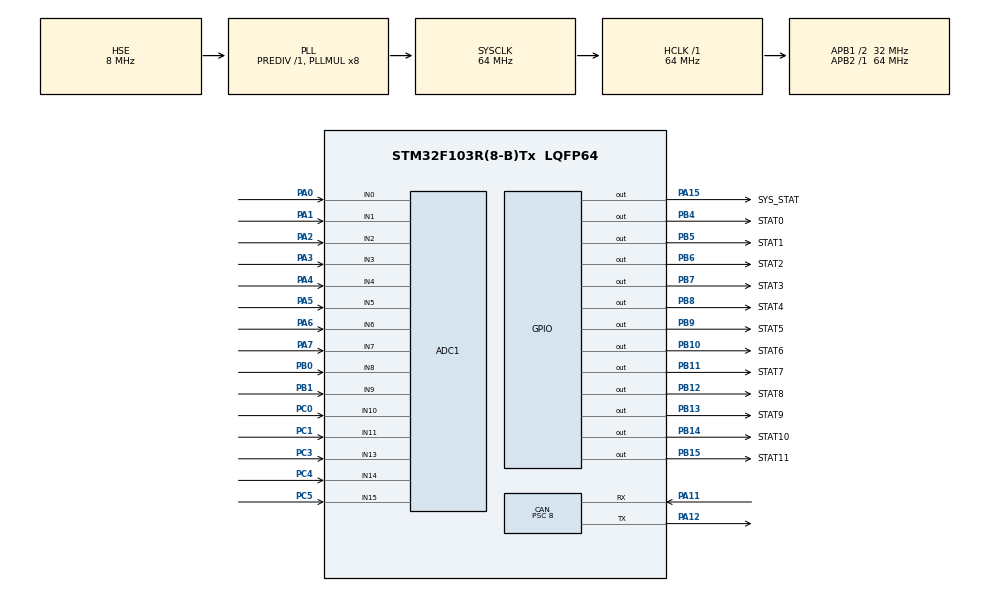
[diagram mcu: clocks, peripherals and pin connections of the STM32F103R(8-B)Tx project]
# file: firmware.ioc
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ADC1.Channel-0\#ChannelRegularConversion=ADC_CHANNEL_0
ADC1.Channel-1\#ChannelRegularConversion=ADC_CHANNEL_1
ADC1.Channel-10\#ChannelRegularConversion=ADC_CHANNEL_10
ADC1.Channel-11\#ChannelRegularConversion=ADC_CHANNEL_11
ADC1.Channel-12\#ChannelRegularConversion=ADC_CHANNEL_13
ADC1.Channel-13\#ChannelRegularConversion=ADC_CHANNEL_14
ADC1.Channel-15\#ChannelRegularConversion=ADC_CHANNEL_15
ADC1.Channel-2\#ChannelRegularConversion=ADC_CHANNEL_2
ADC1.Channel-3\#ChannelRegularConversion=ADC_CHANNEL_3
ADC1.Channel-4\#ChannelRegularConversion=ADC_CHANNEL_4
ADC1.Channel-5\#ChannelRegularConversion=ADC_CHANNEL_5
ADC1.Channel-6\#ChannelRegularConversion=ADC_CHANNEL_6
ADC1.Channel-7\#ChannelRegularConversion=ADC_CHANNEL_7
ADC1.Channel-8\#ChannelRegularConversion=ADC_CHANNEL_8
ADC1.Channel-9\#ChannelRegularConversion=ADC_CHANNEL_9
ADC1.NbrOfConversion=15
ADC1.NbrOfConversionFlag=1
ADC1.Rank-0\#ChannelRegularConversion=1
ADC1.Rank-1\#ChannelRegularConversion=2
ADC1.Rank-10\#ChannelRegularConversion=11
ADC1.Rank-11\#ChannelRegularConversion=12
ADC1.Rank-12\#ChannelRegularConversion=13
ADC1.Rank-13\#ChannelRegularConversion=14
ADC1.Rank-15\#ChannelRegularConversion=15
ADC1.Rank-2\#ChannelRegularConversion=3
ADC1.Rank-3\#ChannelRegularConversion=4
ADC1.Rank-4\#ChannelRegularConversion=5
ADC1.Rank-5\#ChannelRegularConversion=6
ADC1.Rank-6\#ChannelRegularConversion=7
ADC1.Rank-7\#ChannelRegularConversion=8
ADC1.Rank-8\#ChannelRegularConversion=9
ADC1.Rank-9\#ChannelRegularConversion=10
ADC1.SamplingTime-0\#ChannelRegularConversion=ADC_SAMPLETIME_239CYCLES_5
ADC1.SamplingTime-1\#ChannelRegularConversion=ADC_SAMPLETIME_239CYCLES_5
ADC1.SamplingTime-10\#ChannelRegularConversion=ADC_SAMPLETIME_239CYCLES_5
ADC1.SamplingTime-11\#ChannelRegularConversion=ADC_SAMPLETIME_239CYCLES_5
ADC1.SamplingTime-12\#ChannelRegularConversion=ADC_SAMPLETIME_239CYCLES_5
ADC1.SamplingTime-13\#ChannelRegularConversion=ADC_SAMPLETIME_239CYCLES_5
ADC1.SamplingTime-15\#ChannelRegularConversion=ADC_SAMPLETIME_239CYCLES_5
ADC1.SamplingTime-2\#ChannelRegularConversion=ADC_SAMPLETIME_239CYCLES_5
ADC1.SamplingTime-3\#ChannelRegularConversion=ADC_SAMPLETIME_239CYCLES_5
ADC1.SamplingTime-4\#ChannelRegularConversion=ADC_SAMPLETIME_239CYCLES_5
ADC1.SamplingTime-5\#ChannelRegularConversion=ADC_SAMPLETIME_239CYCLES_5
ADC1.SamplingTime-6\#ChannelRegularConversion=ADC_SAMPLETIME_239CYCLES_5
ADC1.SamplingTime-7\#ChannelRegularConversion=ADC_SAMPLETIME_239CYCLES_5
ADC1.SamplingTime-8\#ChannelRegularConversion=ADC_SAMPLETIME_239CYCLES_5
ADC1.SamplingTime-9\#ChannelRegularConversion=ADC_SAMPLETIME_239CYCLES_5
ADC1.master=1
CAN.BS1=CAN_BS1_6TQ
CAN.CalculateBaudRate=500000
CAN.CalculateTimeBit=2000
CAN.CalculateTimeQuantum=250.0
CAN.NART=ENABLE
CAN.Prescaler=8
Dma.ADC1.0.Direction=DMA_PERIPH_TO_MEMORY
Dma.ADC1.0.Instance=DMA1_Channel1
Dma.ADC1.0.MemDataAlignment=DMA_MDATAALIGN_HALFWORD
Dma.ADC1.0.MemInc=DMA_MINC_ENABLE
Dma.ADC1.0.Mode=DMA_NORMAL
Dma.ADC1.0.PeriphDataAlignment=DMA_PDATAALIGN_HALFWORD
Dma.ADC1.0.PeriphInc=DMA_PINC_DISABLE
Dma.ADC1.0.Priority=DMA_PRIORITY_LOW
Dma.Request0=ADC1
Mcu.Family=STM32F1
Mcu.Name=STM32F103R(8-B)Tx
Mcu.Package=LQFP64
NVIC.DMA1_Channel1_IRQn=true\:0\:0\:false\:false\:true\:false\:true\:true
NVIC.PriorityGroup=NVIC_PRIORITYGROUP_4
NVIC.USB_LP_CAN1_RX0_IRQn=true\:0\:0\:false\:false\:true\:true\:true\:true
PA0-WKUP.Signal=ADCx_IN0
PA1.Signal=ADCx_IN1
PA11.Mode=CAN_Activate
PA11.Signal=CAN_RX
PA12.Mode=CAN_Activate
PA12.Signal=CAN_TX
PA13.Mode=Trace_Asynchronous_SW
PA13.Signal=SYS_JTMS-SWDIO
PA14.Mode=Trace_Asynchronous_SW
PA14.Signal=SYS_JTCK-SWCLK
PA15.GPIO_Label=SYS_STAT
PA15.Signal=GPIO_Output
PA2.Signal=ADCx_IN2
PA3.Signal=ADCx_IN3
PA4.Signal=ADCx_IN4
PA5.Signal=ADCx_IN5
PA6.Signal=ADCx_IN6
PA7.Signal=ADCx_IN7
PB0.Signal=ADCx_IN8
PB1.Signal=ADCx_IN9
PB10.GPIO_Label=STAT6
PB10.Signal=GPIO_Output
PB11.GPIO_Label=STAT7
PB11.Signal=GPIO_Output
PB12.GPIO_Label=STAT8
PB12.Signal=GPIO_Output
PB13.GPIO_Label=STAT9
PB13.Signal=GPIO_Output
PB14.GPIO_Label=STAT10
PB14.Signal=GPIO_Output
PB15.GPIO_Label=STAT11
PB15.Signal=GPIO_Output
PB3.Mode=Trace_Asynchronous_SW
PB3.Signal=SYS_JTDO-TRACESWO
PB4.GPIO_Label=STAT0
PB4.Signal=GPIO_Output
PB5.GPIO_Label=STAT1
PB5.Signal=GPIO_Output
PB6.GPIO_Label=STAT2
PB6.Signal=GPIO_Output
PB7.GPIO_Label=STAT3
PB7.Signal=GPIO_Output
PB8.GPIO_Label=STAT4
PB8.Signal=GPIO_Output
PB9.GPIO_Label=STAT5
PB9.Signal=GPIO_Output
PC0.Signal=ADCx_IN10
PC1.Signal=ADCx_IN11
PC3.Signal=ADCx_IN13
PC4.Signal=ADCx_IN14
PC5.Signal=ADCx_IN15
PD0-OSC_IN.Mode=HSE-External-Oscillator
PD0-OSC_IN.Signal=RCC_OSC_IN
PD1-OSC_OUT.Mode=HSE-External-Oscillator
PD1-OSC_OUT.Signal=RCC_OSC_OUT
ProjectManager.HeapSize=0x200
ProjectManager.StackSize=0x400
ProjectManager.TargetToolchain=Makefile
RCC.ADCPresc=RCC_ADCPCLK2_DIV6
RCC.AHBFreq_Value=64000000
RCC.APB1CLKDivider=RCC_HCLK_DIV2
RCC.APB1Freq_Value=32000000
RCC.APB1TimFreq_Value=64000000
RCC.APB2Freq_Value=64000000
RCC.APB2TimFreq_Value=64000000
RCC.HCLKFreq_Value=64000000
RCC.PLLMUL=RCC_PLL_MUL8
RCC.PLLSourceVirtual=RCC_PLLSOURCE_HSE
RCC.SYSCLKFreq_VALUE=64000000
RCC.SYSCLKSource=RCC_SYSCLKSOURCE_PLLCLK
RCC.USBFreq_Value=64000000
SH.ADCx_IN0.0=ADC1_IN0,IN0
SH.ADCx_IN1.0=ADC1_IN1,IN1
SH.ADCx_IN10.0=ADC1_IN10,IN10
SH.ADCx_IN11.0=ADC1_IN11,IN11
SH.ADCx_IN13.0=ADC1_IN13,IN13
SH.ADCx_IN14.0=ADC1_IN14,IN14
SH.ADCx_IN15.0=ADC1_IN15,IN15
SH.ADCx_IN2.0=ADC1_IN2,IN2
SH.ADCx_IN3.0=ADC1_IN3,IN3
SH.ADCx_IN4.0=ADC1_IN4,IN4
SH.ADCx_IN5.0=ADC1_IN5,IN5
SH.ADCx_IN6.0=ADC1_IN6,IN6
SH.ADCx_IN7.0=ADC1_IN7,IN7
SH.ADCx_IN8.0=ADC1_IN8,IN8
SH.ADCx_IN9.0=ADC1_IN9,IN9
board=custom

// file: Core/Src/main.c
/* USER CODE BEGIN Header */
/**
  ******************************************************************************
  * @file           : main.c
  * @brief          : Main program body
  ******************************************************************************
  * @attention
  *
  * Copyright (c) 2023 STMicroelectronics.
  * All rights reserved.
  *
  * This software is licensed under terms that can be found in the LICENSE file
  * in the root directory of this software component.
  * If no LICENSE file comes with this software, it is provided AS-IS.
  *
  ******************************************************************************
  */
/* USER CODE END Header */
#include "main.h"

/* USER CODE BEGIN Includes */
#include "can-ids/CAN.h"
#include <string.h>
#include <math.h>
/* USER CODE END Includes */

/* USER CODE BEGIN PD */

// TODO Read from flash
uint32_t BOARD_ID = 0;
/* USER CODE END PD */

ADC_HandleTypeDef hadc1;
DMA_HandleTypeDef hdma_adc1;

CAN_HandleTypeDef hcan;

void SystemClock_Config(void);
static void MX_GPIO_Init(void);
static void MX_DMA_Init(void);
static void MX_ADC1_Init(void);
static void MX_CAN_Init(void);

/* USER CODE BEGIN 0 */
GPIO_TypeDef* status_ports[N_STATUS_LEDS] = {
  STAT0_GPIO_Port,
  STAT1_GPIO_Port,
  STAT2_GPIO_Port,
  STAT3_GPIO_Port,
  STAT4_GPIO_Port,
  STAT5_GPIO_Port,
  STAT6_GPIO_Port,
  STAT7_GPIO_Port,
  STAT8_GPIO_Port,
  STAT9_GPIO_Port,
  STAT10_GPIO_Port,
  STAT11_GPIO_Port,
};
uint16_t status_pins[N_STATUS_LEDS] = {
  STAT0_Pin,
  STAT1_Pin,
  STAT2_Pin,
  STAT3_Pin,
  STAT4_Pin,
  STAT5_Pin,
  STAT6_Pin,
  STAT7_Pin,
  STAT8_Pin,
  STAT9_Pin,
  STAT10_Pin,
  STAT11_Pin,
};

uint8_t adc_to_channel_mapping[N_ADC_CHANNELS] = {
  0, 1, 2, 12, 10, 6, 8, 14, 3, 4, 9, 11, 13, 7, 5
};

volatile uint16_t adc_readings[N_ADC_CHANNELS];

int16_t temperatures[N_ADC_CHANNELS];

// Orion BMS CAN data
uint8_t orion_data_ready = 0; // stores whether data is available to send yet
const uint8_t thermistor_module_number = 0;
int8_t pack_min_temperature; // in degrees C
uint8_t pack_min_idx;
int8_t pack_max_temperature; // in degrees C
uint8_t pack_max_idx;
int32_t pack_temp_sum; // for calculating average temperature
uint8_t pack_temp_samples;
const uint8_t thermistor_count = 12 * 7;

const uint8_t orion_bms_address_claim[8] = {
  0xF3, 0x00, 0x80, 0xF3, 0x00, 0x40, 0x1E, 0x90
};

uint32_t write_cal_data(struct ThermistorCal_T* data);

float compute_resistance(uint16_t adc_reading) {
  float adc_float = (float) adc_reading;
  float voltage_fac = adc_float / ((float) 0x1000); // input voltage as a fraction of VDDA
  const float ref_resistance = 10000.0; // precision reference resistor value
  float rtd_resistance = ref_resistance * ((1.0 / voltage_fac) - 1);
  return rtd_resistance;
}

float c2k(float c) {
    return c + 273.15;
}
float k2c(float k) {
    return k - 273.15;
}

struct SteinhartHartParameters compute_parameters(float r1, float t1, float r2, float t2, float r3, float t3) {
    float ln_r1 = logf(r1);
    float ln_r2 = logf(r2);
    float ln_r3 = logf(r3);

    float Y_1 = 1.0 / c2k(t1);
    float Y_2 = 1.0 / c2k(t2);
    float Y_3 = 1.0 / c2k(t3);

    float gamma_2 = (Y_2 - Y_1) / (ln_r2 - ln_r1);
    float gamma_3 = (Y_3 - Y_1) / (ln_r3 - ln_r1);

    float C = ((gamma_3 - gamma_2) / (ln_r3 - ln_r2)) * 1.0 / (ln_r1 + ln_r2 + ln_r3);

    float B = gamma_2 - C * (ln_r1 * ln_r1 + ln_r1 * ln_r2 + ln_r2 * ln_r2);

    float A = Y_1 - (B + C * ln_r1 * ln_r1) * ln_r1;

    struct SteinhartHartParameters params = {A,B,C};
    return params;
}

float compute_temperature(struct SteinhartHartParameters* p, float r) {
  float ln_r = logf(r);
  float t_inv = p->A + p->B * ln_r + p->C * ln_r * ln_r * ln_r;
  float temp_kelvin = 1.0 / t_inv;
  return k2c(temp_kelvin);
}

void can_send_float(uint8_t errno, float f1) {
  // Message header
  CAN_TxHeaderTypeDef m;
  // Use standard ID
  m.IDE = CAN_ID_STD;
  // Set message ID
  m.StdId = CELL_TAP_CAL_RESP_ID + BOARD_ID;
  // Use CAN_RTR_DATA to transmit data
  // We may use CAN_RTR_REMOTE to request things to send data in the future
  m.RTR = CAN_RTR_DATA;
  // Amount of data
  m.DLC = 8;

  // Data to send
  uint8_t data_u8[8];

  uint32_t* int_value = (uint32_t*) &f1;
  data_u8[4] = (*int_value >> 24) & 0xff;
  data_u8[5] = (*int_value >> 16) & 0xff;
  data_u8[6] = (*int_value >> 8) & 0xff;
  data_u8[7] = (*int_value) & 0xff;
  data_u8[0] = errno;
  data_u8[1] = 0;
  data_u8[2] = 0;
  data_u8[3] = 0;

  // Send a message
  uint32_t mailbox;
  HAL_CAN_AddTxMessage(&hcan, &m, data_u8, &mailbox);

  // Wait for message to be sent. This is usually not needed.
  while (HAL_CAN_IsTxMessagePending(&hcan, mailbox));
}

uint8_t cal_cmd(uint8_t cmd, float value) {
  uint8_t errno = 0;

  // read current calibration from flash
  struct ThermistorCal_T current_cal;
  struct ThermistorCal_T* memcpy_source = CAL_TABLE;
  memcpy(&current_cal, memcpy_source, sizeof(struct ThermistorCal_T));
  switch(cmd) {
    case 0:
      // clear calibration
      struct ThermistorCal_T blank_cal = {0};
      if(write_cal_data(&blank_cal) > 0) errno = 1;
      break;
    case 1:
    case 2:
    case 3:
      current_cal.temps[cmd - 1] = value;
      for(uint8_t i = 0; i < N_ADC_CHANNELS; ++i) {
        // TODO use filtered adc readings
        uint16_t reading = adc_readings[i];
        if(reading < ADC_ERR_LOW || reading > ADC_ERR_HIGH) {
          errno = 3;
          break;
        }
        current_cal.adc_readings[i][cmd - 1] = adc_readings[i];
      }
      if(errno == 0) {
        current_cal.temp_calibrations[cmd - 1] = 1;
        if(write_cal_data(&current_cal) > 0) errno = 1;
      }
      break;
    case 4:
      // Verify that all three calibration points have been read, otherwise the result will be nonsense
      if(current_cal.temp_calibrations[0] && current_cal.temp_calibrations[1] && current_cal.temp_calibrations[2]) {
        float t1 = current_cal.temps[0];
        float t2 = current_cal.temps[1];
        float t3 = current_cal.temps[2];
        // now low/mid/high_cal_idx should be in order
        for(uint8_t i = 0; i < N_ADC_CHANNELS; ++i) {
          float r1 = compute_resistance(current_cal.adc_readings[i][0]);
          float r2 = compute_resistance(current_cal.adc_readings[i][1]);
          float r3 = compute_resistance(current_cal.adc_readings[i][2]);

          // previous debugging code
          // can_send_float(200, r1);
          // can_send_float(201, t1);
          // can_send_float(202, r2);
          // can_send_float(203, t2);
          // can_send_float(204, r3);
          // can_send_float(205, t3);

          struct SteinhartHartParameters params = compute_parameters(r1, t1, r2, t2, r3, t3);
          if(isnan(params.A) || isnan(params.B) || isnan(params.C)) {
            errno = 5;
            break;
          }

          current_cal.parameters[i] = params;
        }
      } else {
        errno = 4;
        break;
      }

      current_cal.abc_calibration = 1;

      if(write_cal_data(&current_cal) > 0) errno = 1;
      break;
    case 5: // dump out calibration values
        // ABC Values
        for(uint8_t i = 0; i < N_ADC_CHANNELS; ++i) {
          can_send_float(20 + i, current_cal.parameters[i].A);
        }
        for(uint8_t i = 0; i < N_ADC_CHANNELS; ++i) {
          can_send_float(40 + i, current_cal.parameters[i].B);
        }
        for(uint8_t i = 0; i < N_ADC_CHANNELS; ++i) {
          can_send_float(60 + i, current_cal.parameters[i].C);
        }

        // Calib. temps
        can_send_float(80, current_cal.temps[0]);
        can_send_float(81, current_cal.temps[1]);
        can_send_float(82, current_cal.temps[2]);

        // ADC Readings
        for(uint8_t i = 0; i < N_ADC_CHANNELS; ++i) {
          can_send_float(100 + i, (float) current_cal.adc_readings[i][0]);
        }
        for(uint8_t i = 0; i < N_ADC_CHANNELS; ++i) {
          can_send_float(120 + i, (float) current_cal.adc_readings[i][1]);
        }
        for(uint8_t i = 0; i < N_ADC_CHANNELS; ++i) {
          can_send_float(140 + i, (float) current_cal.adc_readings[i][2]);
        }
      break;

    default:
      errno = 2;
  }

  // send response
  // Message header
  CAN_TxHeaderTypeDef m;
  // Use standard ID
  m.IDE = CAN_ID_STD;
  // Set message ID
  m.StdId = CELL_TAP_CAL_RESP_ID + BOARD_ID;
  // Use CAN_RTR_DATA to transmit data
  // We may use CAN_RTR_REMOTE to request things to send data in the future
  m.RTR = CAN_RTR_DATA;
  // Amount of data
  m.DLC = CELL_TAP_CAL_RESP_DLC;

  // Data to send
  uint8_t data[1];
  data[0] = errno;

  // Send a message
  uint32_t mailbox;
  HAL_CAN_AddTxMessage(&hcan, &m, data, &mailbox);
  // Wait for message to be sent. This is usually not needed.
  while (HAL_CAN_IsTxMessagePending(&hcan, mailbox));
  return 0;
}

void update_orion_bms_data(int8_t t, uint8_t idx) {
  pack_temp_sum += t;
  pack_temp_samples ++;
  if(t < pack_min_temperature) {
    pack_min_temperature = t;
    pack_min_idx = idx;
  }
  if(t > pack_max_temperature) {
    pack_max_temperature = t;
    pack_max_idx = idx;
  }
}

void reset_orion_bms_data(void) {
  pack_max_temperature = INT8_MIN;
  pack_min_temperature = INT8_MAX;
  pack_temp_sum = 0;
  pack_temp_samples = 0;

  for(uint8_t i = 0; i < 12; ++i) {
    int8_t temp_i8 = (int8_t)(temperatures[i] / 100);
    update_orion_bms_data(temp_i8, i);
  }
}

// CAN Interrupt handler. Called whenever a new CAN frame is received.
void can_irq(CAN_HandleTypeDef *pcan) {
  // Message header
  CAN_RxHeaderTypeDef msg;
  // Message data. Only filled with as much data as the message contained, the rest is garbage.
  uint8_t data[8];

  // Read the next CAN frame
  HAL_CAN_GetRxMessage(pcan, CAN_RX_FIFO0, &msg, data);

  // Only accept standard CAN IDs, we don't use extended IDs.
  if(msg.IDE == CAN_ID_STD) {
    switch (msg.StdId)
      {
      // Add cases for each CAN ID you want to handle

      // ID 0xB0 is a bootloader command, so reset the mcu when received.
      case BOOTLOADER_ID:
        __NVIC_SystemReset(); // Reset to bootloader
        break;

      case CELL_TAP_CAL_CMD_ID: // calibration command
        uint8_t command = read_field_u8(&CELL_TAP_CAL_CMD_cmd, data);
        uint32_t int_value = (data[1] << 24) + (data[2] << 16) + (data[3] << 8) + data[4];
        float value = *(float *) &int_value; // reinterpret bytes as float without doing conversion

        cal_cmd(command, value);

      default:
        // Board 0 collects data and sends it to the orion BMS
        if(BOARD_ID == 0){
          // check if the message is from a segment board
          if(msg.StdId >= CELL_TAP_1_1_ID && msg.StdId < CELL_TAP_7_1_ID + 4) {
            if(msg.StdId % 4 != 3) { // don't read the board thermistors, only cells
              uint8_t board_no = (msg.StdId - CELL_TAP_1_1_ID) / 4;
              uint8_t message_no = msg.StdId % 4;
              uint8_t start_thermistor_idx = board_no * 12 + message_no * 4;
              // record max/min temperature
              int16_t* temps = (int16_t*) data;
              for(uint8_t i = 0; i < 4; ++i) {
                int16_t temp = __builtin_bswap16(temps[i]);
                int8_t temp_i8 = (int8_t) (temps[i] / 100);
                update_orion_bms_data(temp_i8, start_thermistor_idx + i);
              }
            }
          }

        }
        break;
      }
  }
}

void can_transmit_orion_bms(void) {
  // Message header
  CAN_TxHeaderTypeDef m;
  // Use standard ID
  m.IDE = CAN_ID_EXT;
  // Set message ID
  m.ExtId = 0x1839F380;
  // Use CAN_RTR_DATA to transmit data
  // We may use CAN_RTR_REMOTE to request things to send data in the future
  m.RTR = CAN_RTR_DATA;
  // Amount of data
  m.DLC = 8;

  // Data to send
  uint8_t data[8];

  int32_t average_temp = pack_temp_sum / pack_temp_samples;
  data[0] = thermistor_module_number;
  data[1] = pack_min_temperature;
  data[2] = pack_max_temperature;
  data[3] = (int8_t) average_temp;
  data[4] = thermistor_count;
  data[5] = pack_max_idx;
  data[6] = pack_min_idx;

  // Checksum 8-bit
  // (sum of all bytes + 0x39 + length)
  uint8_t checksum = 0;
  for(int i = 0; i < 7; ++i) {
    checksum += data[i];
  }
  checksum += 0x39;
  checksum += 8;

  data[7] = checksum;

  // Send a message
  uint32_t mailbox;
  HAL_CAN_AddTxMessage(&hcan, &m, data, &mailbox);
  // Wait for message to be sent. This is usually not needed.
  while (HAL_CAN_IsTxMessagePending(&hcan, mailbox));
}

void can_transmit_orion_bms_address_claim(void) {
  // Message header
  CAN_TxHeaderTypeDef m;
  // Use standard ID
  m.IDE = CAN_ID_EXT;
  // Set message ID
  m.ExtId = 0x18EEFF80;
  // Use CAN_RTR_DATA to transmit data
  // We may use CAN_RTR_REMOTE to request things to send data in the future
  m.RTR = CAN_RTR_DATA;
  // Amount of data
  m.DLC = 8;

  // Send a message
  uint32_t mailbox;
  HAL_CAN_AddTxMessage(&hcan, &m, orion_bms_address_claim, &mailbox);
  // Wait for message to be sent. This is usually not needed.
  while (HAL_CAN_IsTxMessagePending(&hcan, mailbox));
}

// We only send one CAN message each time to save CAN bus resources.
static uint8_t can_message_idx = 0;

void can_transmit_temperatures(void) {
  // Message header
  CAN_TxHeaderTypeDef m;
  // Use standard ID
  m.IDE = CAN_ID_STD;
  // Set message ID
  m.StdId = CELL_TAP_1_1_ID + can_message_idx + 4 * BOARD_ID;
  // Use CAN_RTR_DATA to transmit data
  // We may use CAN_RTR_REMOTE to request things to send data in the future
  m.RTR = CAN_RTR_DATA;
  // Amount of data
  m.DLC = CELL_TAP_1_1_DLC;

  // Data to send
  uint8_t data[8];

  switch(can_message_idx) {
    case 0:
      data[0] = (temperatures[0] >> 8) & 0xFF;
      data[1] = temperatures[0] & 0xFF;
      data[2] = (temperatures[1] >> 8) & 0xFF;
      data[3] = temperatures[1] & 0xFF;
      data[4] = (temperatures[2] >> 8) & 0xFF;
      data[5] = temperatures[2] & 0xFF;
      data[6] = (temperatures[3] >> 8) & 0xFF;
      data[7] = temperatures[3] & 0xFF;
      break;
    case 1:
      data[0] = (temperatures[4] >> 8) & 0xFF;
      data[1] = temperatures[4] & 0xFF;
      data[2] = (temperatures[5] >> 8) & 0xFF;
      data[3] = temperatures[5] & 0xFF;
      data[4] = (temperatures[6] >> 8) & 0xFF;
      data[5] = temperatures[6] & 0xFF;
      data[6] = (temperatures[7] >> 8) & 0xFF;
      data[7] = temperatures[7] & 0xFF;
      break;
    case 2:
      data[0] = (temperatures[8] >> 8) & 0xFF;
      data[1] = temperatures[8] & 0xFF;
      data[2] = (temperatures[9] >> 8) & 0xFF;
      data[3] = temperatures[9] & 0xFF;
      data[4] = (temperatures[10] >> 8) & 0xFF;
      data[5] = temperatures[10] & 0xFF;
      data[6] = (temperatures[11] >> 8) & 0xFF;
      data[7] = temperatures[11] & 0xFF;
      break;
    case 3:
      data[0] = (temperatures[12] >> 8) & 0xFF;
      data[1] = temperatures[12] & 0xFF;
      data[2] = (temperatures[13] >> 8) & 0xFF;
      data[3] = temperatures[13] & 0xFF;
      data[4] = (temperatures[14] >> 8) & 0xFF;
      data[5] = temperatures[14] & 0xFF;

      int16_t max_temp = INT16_MIN;
      for(int i = 0; i < 12; ++i) {
        int16_t temp = temperatures[i];
        if(temp > max_temp) {
          max_temp = temp;
        }
      }
      data[6] = (max_temp >> 8) & 0xFF;
      data[7] = max_temp & 0xFF;
      break;
    default:
      Error_Handler();
      break;
  }

  // Send a message
  uint32_t mailbox;
  HAL_CAN_AddTxMessage(&hcan, &m, data, &mailbox);
  // Wait for message to be sent. This is usually not needed.
  while (HAL_CAN_IsTxMessagePending(&hcan, mailbox));

  // Board 0 sends data to the BMS
  if(BOARD_ID == 0) {
    // only send orion data once all data is out
    if(can_message_idx == 3) {
      orion_data_ready = 1;
    }

    if(orion_data_ready) {
      can_transmit_orion_bms();
      reset_orion_bms_data();
    }

    // send address claim (every 200ms)
    if(can_message_idx % 2 == 0) {
      can_transmit_orion_bms_address_claim();
    }
  }

  can_message_idx = (can_message_idx + 1) % 4;
}

uint8_t __fls_wr(const uint32_t *page, const uint32_t *buf, uint32_t len)
{
  __HAL_FLASH_CLEAR_FLAG(FLASH_FLAG_EOP | FLASH_FLAG_PGERR | FLASH_FLAG_WRPERR);

  uint32_t erase_err;
  FLASH_EraseInitTypeDef erase_page = {
      FLASH_TYPEERASE_PAGES,
      FLASH_BANK_1,
      (uint32_t)page, 1};

  if (HAL_OK != HAL_FLASHEx_Erase(&erase_page, &erase_err)) {
    return 1;
  }

  for (uint32_t i = 0; i < len; ++i)
  {
    HAL_StatusTypeDef res = HAL_FLASH_Program(FLASH_TYPEPROGRAM_WORD, (uint32_t)page, *buf);
    if (HAL_OK != res)
    {
      __NOP();
      return 2;
    }
    ++page;
    ++buf;
  }
  __NOP();

  return 0;
}

uint8_t fls_wr(const uint32_t *page, const uint32_t *buf, uint32_t len)
{
  // does flash equal buffer already?
  if (0 == memcmp(page, buf, 4 * len))
  {
    return 0;
  }

  HAL_FLASH_Unlock();
  uint8_t r = __fls_wr(page, buf, len);
  HAL_FLASH_Lock();
  if (r)
  {
    return r;
  }

  // verify
  if (0 != memcmp(page, buf, 4 * len))
  {
    return 10;
  }

  return 0;
}

uint32_t write_cal_data(struct ThermistorCal_T* data) {
  return fls_wr(CAL_TABLE, (uint32_t*) data, sizeof(struct ThermistorCal_T) / sizeof(uint32_t));
}

/* USER CODE END 0 */

int main(void)
{
  /* USER CODE BEGIN 1 */
  // necessary for bootloader
  SCB->VTOR = (uint32_t)0x08003000;
  /* USER CODE END 1 */

  /* MCU Configuration--------------------------------------------------------*/

  /* Reset of all peripherals, Initializes the Flash interface and the Systick. */
  HAL_Init();

  /* Configure the system clock */
  SystemClock_Config();

  /* USER CODE BEGIN SysInit */

  if(FLASH_VARS->board.id >= 10 || FLASH_VARS->board.id <= 16) {
    // Board id in the proper range :)
      BOARD_ID = FLASH_VARS->board.id - 10;
  }

  /* USER CODE END SysInit */

  /* Initialize all configured peripherals */
  MX_GPIO_Init();
  MX_DMA_Init();
  MX_ADC1_Init();
  MX_CAN_Init();
  /* USER CODE BEGIN 2 */

  HAL_ADCEx_Calibration_Start(&hadc1);

  for(uint8_t i = 0; i < 12; ++i) {
    HAL_GPIO_WritePin(status_ports[i], status_pins[i], GPIO_PIN_SET);
    HAL_Delay(50);
  }
  for(uint8_t i = 0; i < 12; ++i) {
    HAL_GPIO_WritePin(status_ports[i], status_pins[i], GPIO_PIN_RESET);
    HAL_Delay(50);
  }

  struct ThermistorCal_T* current_cal = CAL_TABLE;

  /* USER CODE END 2 */

  /* Infinite loop */
  /* USER CODE BEGIN WHILE */
  while (1)
  {
    HAL_ADC_Start_DMA(&hadc1, (uint32_t*) adc_readings, N_ADC_CHANNELS);
    HAL_Delay(100);

    for(uint8_t i = 0; i < N_ADC_CHANNELS; ++i) {
      uint8_t channel = adc_to_channel_mapping[i];
      uint16_t reading = adc_readings[i];

      if(current_cal->abc_calibration) {
        float resistance = compute_resistance(reading);
        float temp = compute_temperature(&(current_cal->parameters[i]), resistance);
        temperatures[channel] = (int16_t) (temp * 100.0);
      } else {
        temperatures[channel] = reading;
      }
      if(channel < N_STATUS_LEDS){
        HAL_GPIO_WritePin(status_ports[channel], status_pins[channel], reading < ADC_ERR_LOW || reading > ADC_ERR_HIGH);
      }
    }

    // TODO Filtering sensor values
    can_transmit_temperatures();

    /* USER CODE END WHILE */

  }
}

void SystemClock_Config(void)
{
  RCC_OscInitTypeDef RCC_OscInitStruct = {0};
  RCC_ClkInitTypeDef RCC_ClkInitStruct = {0};
  RCC_PeriphCLKInitTypeDef PeriphClkInit = {0};

  /** Initializes the RCC Oscillators according to the specified parameters
  * in the RCC_OscInitTypeDef structure.
  */
  RCC_OscInitStruct.OscillatorType = RCC_OSCILLATORTYPE_HSE;
  RCC_OscInitStruct.HSEState = RCC_HSE_ON;
  RCC_OscInitStruct.HSEPredivValue = RCC_HSE_PREDIV_DIV1;
  RCC_OscInitStruct.HSIState = RCC_HSI_ON;
  RCC_OscInitStruct.PLL.PLLState = RCC_PLL_ON;
  RCC_OscInitStruct.PLL.PLLSource = RCC_PLLSOURCE_HSE;
  RCC_OscInitStruct.PLL.PLLMUL = RCC_PLL_MUL8;
  if (HAL_RCC_OscConfig(&RCC_OscInitStruct) != HAL_OK)
  {
    Error_Handler();
  }

  /** Initializes the CPU, AHB and APB buses clocks
  */
  RCC_ClkInitStruct.ClockType = RCC_CLOCKTYPE_HCLK|RCC_CLOCKTYPE_SYSCLK
                              |RCC_CLOCKTYPE_PCLK1|RCC_CLOCKTYPE_PCLK2;
  RCC_ClkInitStruct.SYSCLKSource = RCC_SYSCLKSOURCE_PLLCLK;
  RCC_ClkInitStruct.AHBCLKDivider = RCC_SYSCLK_DIV1;
  RCC_ClkInitStruct.APB1CLKDivider = RCC_HCLK_DIV2;
  RCC_ClkInitStruct.APB2CLKDivider = RCC_HCLK_DIV1;

  if (HAL_RCC_ClockConfig(&RCC_ClkInitStruct, FLASH_LATENCY_2) != HAL_OK)
  {
    Error_Handler();
  }
  PeriphClkInit.PeriphClockSelection = RCC_PERIPHCLK_ADC;
  PeriphClkInit.AdcClockSelection = RCC_ADCPCLK2_DIV6;
  if (HAL_RCCEx_PeriphCLKConfig(&PeriphClkInit) != HAL_OK)
  {
    Error_Handler();
  }
}

static void MX_ADC1_Init(void)
{

  ADC_ChannelConfTypeDef sConfig = {0};

  /** Common config
  */
  hadc1.Instance = ADC1;
  hadc1.Init.ScanConvMode = ADC_SCAN_ENABLE;
  hadc1.Init.ContinuousConvMode = DISABLE;
  hadc1.Init.DiscontinuousConvMode = DISABLE;
  hadc1.Init.ExternalTrigConv = ADC_SOFTWARE_START;
  hadc1.Init.DataAlign = ADC_DATAALIGN_RIGHT;
  hadc1.Init.NbrOfConversion = 15;
  if (HAL_ADC_Init(&hadc1) != HAL_OK)
  {
    Error_Handler();
  }

  /** Configure Regular Channel
  */
  sConfig.Channel = ADC_CHANNEL_0;
  sConfig.Rank = ADC_REGULAR_RANK_1;
  sConfig.SamplingTime = ADC_SAMPLETIME_239CYCLES_5;
  if (HAL_ADC_ConfigChannel(&hadc1, &sConfig) != HAL_OK)
  {
    Error_Handler();
  }

  /** Configure Regular Channel
  */
  sConfig.Channel = ADC_CHANNEL_1;
  sConfig.Rank = ADC_REGULAR_RANK_2;
  if (HAL_ADC_ConfigChannel(&hadc1, &sConfig) != HAL_OK)
  {
    Error_Handler();
  }

  /** Configure Regular Channel
  */
  sConfig.Channel = ADC_CHANNEL_2;
  sConfig.Rank = ADC_REGULAR_RANK_3;
  if (HAL_ADC_ConfigChannel(&hadc1, &sConfig) != HAL_OK)
  {
    Error_Handler();
  }

  /** Configure Regular Channel
  */
  sConfig.Channel = ADC_CHANNEL_3;
  sConfig.Rank = ADC_REGULAR_RANK_4;
  if (HAL_ADC_ConfigChannel(&hadc1, &sConfig) != HAL_OK)
  {
    Error_Handler();
  }

  /** Configure Regular Channel
  */
  sConfig.Channel = ADC_CHANNEL_4;
  sConfig.Rank = ADC_REGULAR_RANK_5;
  if (HAL_ADC_ConfigChannel(&hadc1, &sConfig) != HAL_OK)
  {
    Error_Handler();
  }

  /** Configure Regular Channel
  */
  sConfig.Channel = ADC_CHANNEL_5;
  sConfig.Rank = ADC_REGULAR_RANK_6;
  if (HAL_ADC_ConfigChannel(&hadc1, &sConfig) != HAL_OK)
  {
    Error_Handler();
  }

  /** Configure Regular Channel
  */
  sConfig.Channel = ADC_CHANNEL_6;
  sConfig.Rank = ADC_REGULAR_RANK_7;
  if (HAL_ADC_ConfigChannel(&hadc1, &sConfig) != HAL_OK)
  {
    Error_Handler();
  }

  /** Configure Regular Channel
  */
  sConfig.Channel = ADC_CHANNEL_7;
  sConfig.Rank = ADC_REGULAR_RANK_8;
  if (HAL_ADC_ConfigChannel(&hadc1, &sConfig) != HAL_OK)
  {
    Error_Handler();
  }

  /** Configure Regular Channel
  */
  sConfig.Channel = ADC_CHANNEL_8;
  sConfig.Rank = ADC_REGULAR_RANK_9;
  if (HAL_ADC_ConfigChannel(&hadc1, &sConfig) != HAL_OK)
  {
    Error_Handler();
  }

  /** Configure Regular Channel
  */
  sConfig.Channel = ADC_CHANNEL_9;
  sConfig.Rank = ADC_REGULAR_RANK_10;
  if (HAL_ADC_ConfigChannel(&hadc1, &sConfig) != HAL_OK)
  {
    Error_Handler();
  }

  /** Configure Regular Channel
  */
  sConfig.Channel = ADC_CHANNEL_10;
  sConfig.Rank = ADC_REGULAR_RANK_11;
  if (HAL_ADC_ConfigChannel(&hadc1, &sConfig) != HAL_OK)
  {
    Error_Handler();
  }

  /** Configure Regular Channel
  */
  sConfig.Channel = ADC_CHANNEL_11;
  sConfig.Rank = ADC_REGULAR_RANK_12;
  if (HAL_ADC_ConfigChannel(&hadc1, &sConfig) != HAL_OK)
  {
    Error_Handler();
  }

  /** Configure Regular Channel
  */
  sConfig.Channel = ADC_CHANNEL_13;
  sConfig.Rank = ADC_REGULAR_RANK_13;
  if (HAL_ADC_ConfigChannel(&hadc1, &sConfig) != HAL_OK)
  {
    Error_Handler();
  }

  /** Configure Regular Channel
  */
  sConfig.Channel = ADC_CHANNEL_14;
  sConfig.Rank = ADC_REGULAR_RANK_14;
  if (HAL_ADC_ConfigChannel(&hadc1, &sConfig) != HAL_OK)
  {
    Error_Handler();
  }

  /** Configure Regular Channel
  */
  sConfig.Channel = ADC_CHANNEL_15;
  sConfig.Rank = ADC_REGULAR_RANK_15;
  if (HAL_ADC_ConfigChannel(&hadc1, &sConfig) != HAL_OK)
  {
    Error_Handler();
  }

}

static void MX_CAN_Init(void)
{

  hcan.Instance = CAN1;
  hcan.Init.Prescaler = 8;
  hcan.Init.Mode = CAN_MODE_NORMAL;
  hcan.Init.SyncJumpWidth = CAN_SJW_1TQ;
  hcan.Init.TimeSeg1 = CAN_BS1_6TQ;
  hcan.Init.TimeSeg2 = CAN_BS2_1TQ;
  hcan.Init.TimeTriggeredMode = DISABLE;
  hcan.Init.AutoBusOff = DISABLE;
  hcan.Init.AutoWakeUp = DISABLE;
  hcan.Init.AutoRetransmission = ENABLE;
  hcan.Init.ReceiveFifoLocked = DISABLE;
  hcan.Init.TransmitFifoPriority = DISABLE;
  if (HAL_CAN_Init(&hcan) != HAL_OK)
  {
    Error_Handler();
  }
  /* USER CODE BEGIN CAN_Init 2 */
  // Set up filter to accept all CAN messages
  CAN_FilterTypeDef sf;
  sf.FilterMaskIdHigh = 0x0000;
  sf.FilterMaskIdLow = 0x0000;
  sf.FilterFIFOAssignment = CAN_FILTER_FIFO0;
  sf.FilterBank = 0;
  sf.FilterMode = CAN_FILTERMODE_IDMASK;
  sf.FilterScale = CAN_FILTERSCALE_32BIT;
  sf.FilterActivation = CAN_FILTER_ENABLE;

  if (HAL_CAN_ConfigFilter(&hcan, &sf) != HAL_OK) {
    Error_Handler();
  }

  if (HAL_CAN_Start(&hcan) != HAL_OK) {
    Error_Handler();
  }

  // Enables interrupts
  if (HAL_CAN_ActivateNotification(&hcan, CAN_IT_RX_FIFO0_MSG_PENDING) != HAL_OK) {
    Error_Handler();
  }

  /* USER CODE END CAN_Init 2 */

}

static void MX_DMA_Init(void)
{

  /* DMA controller clock enable */
  __HAL_RCC_DMA1_CLK_ENABLE();

  /* DMA interrupt init */
  /* DMA1_Channel1_IRQn interrupt configuration */
  HAL_NVIC_SetPriority(DMA1_Channel1_IRQn, 0, 0);
  HAL_NVIC_EnableIRQ(DMA1_Channel1_IRQn);

}

static void MX_GPIO_Init(void)
{
  GPIO_InitTypeDef GPIO_InitStruct = {0};

  /* GPIO Ports Clock Enable */
  __HAL_RCC_GPIOD_CLK_ENABLE();
  __HAL_RCC_GPIOC_CLK_ENABLE();
  __HAL_RCC_GPIOA_CLK_ENABLE();
  __HAL_RCC_GPIOB_CLK_ENABLE();

  /*Configure GPIO pin Output Level */
  HAL_GPIO_WritePin(GPIOB, STAT6_Pin|STAT7_Pin|STAT8_Pin|STAT9_Pin
                          |STAT10_Pin|STAT11_Pin|STAT0_Pin|STAT1_Pin
                          |STAT2_Pin|STAT3_Pin|STAT4_Pin|STAT5_Pin, GPIO_PIN_RESET);

  /*Configure GPIO pin Output Level */
  HAL_GPIO_WritePin(SYS_STAT_GPIO_Port, SYS_STAT_Pin, GPIO_PIN_RESET);

  /*Configure GPIO pins : STAT6_Pin STAT7_Pin STAT8_Pin STAT9_Pin
                           STAT10_Pin STAT11_Pin STAT0_Pin STAT1_Pin
                           STAT2_Pin STAT3_Pin STAT4_Pin STAT5_Pin */
  GPIO_InitStruct.Pin = STAT6_Pin|STAT7_Pin|STAT8_Pin|STAT9_Pin
                          |STAT10_Pin|STAT11_Pin|STAT0_Pin|STAT1_Pin
                          |STAT2_Pin|STAT3_Pin|STAT4_Pin|STAT5_Pin;
  GPIO_InitStruct.Mode = GPIO_MODE_OUTPUT_PP;
  GPIO_InitStruct.Pull = GPIO_NOPULL;
  GPIO_InitStruct.Speed = GPIO_SPEED_FREQ_LOW;
  HAL_GPIO_Init(GPIOB, &GPIO_InitStruct);

  /*Configure GPIO pin : SYS_STAT_Pin */
  GPIO_InitStruct.Pin = SYS_STAT_Pin;
  GPIO_InitStruct.Mode = GPIO_MODE_OUTPUT_PP;
  GPIO_InitStruct.Pull = GPIO_NOPULL;
  GPIO_InitStruct.Speed = GPIO_SPEED_FREQ_LOW;
  HAL_GPIO_Init(SYS_STAT_GPIO_Port, &GPIO_InitStruct);

}

void Error_Handler(void)
{
  /* USER CODE BEGIN Error_Handler_Debug */
  /* User can add his own implementation to report the HAL error return state */
  // __disable_irq();
  while (1)
  {
  }
  /* USER CODE END Error_Handler_Debug */
}
